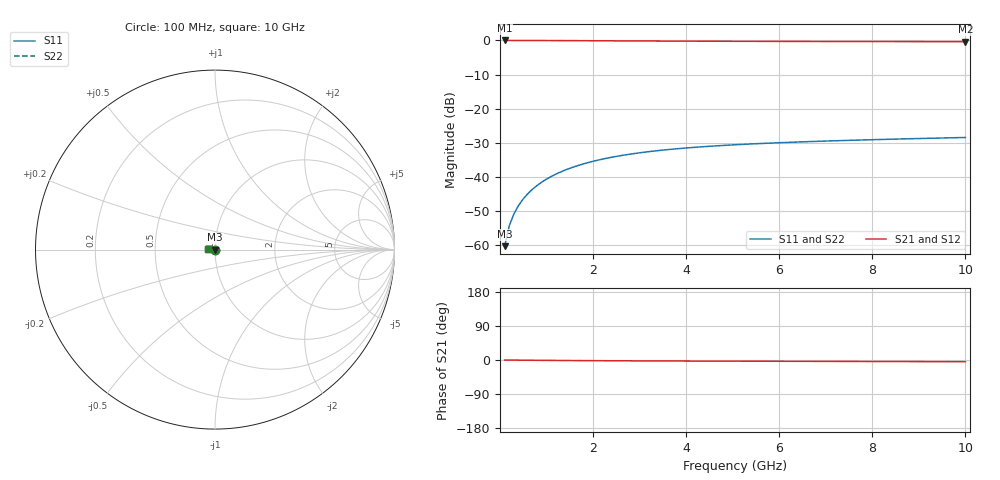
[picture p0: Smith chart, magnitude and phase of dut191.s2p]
! Touchstone file exported from HFSS 2024.1.0
!  File:  C:/UserFiles/LocalFiles/RDL_TSV_Batchsim/temp_TSV1_191_1779385016.aedt
!  Generated:  01:42:16 AM May 22, 2026
!  Design:  TSV1
!  Project:  temp_TSV1_191_1779385016
!  Setup:  Setup1
!  Solution:  Sweep
! Variables:
!  dtsv = 9.1um
!  hbump = 3um
!  htsv = 68.52um
!  lrdl = 252.1521522um
!  p = 40
!  p1 = 48.86um
!  t = 500um
!  trdl = 3um
!  wrdl = 24.89489489um
# GHz S MA R 50.000000
! Terminal data exported
! Port[1] = TSV22_T1
! Port[2] = TSV22_T2
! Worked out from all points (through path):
!   100 points, 100 MHz to 10 GHz, reference 50 ohm
!   highest |S21| = 0.00 dB at 100 MHz (marker M1); lowest = -0.4 dB at 10 GHz (marker M2)
!   lowest |S11| = -60.4 dB at 100 MHz (marker M3), VSWR 1.00, Z = 50 - j0.0948 ohm
!   |S11| at or under -10 dB: start of sweep to end of sweep
!   |S22| runs from -60.4 to -28.5 dB; largest |S21 - S12| = 8.2e-15
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0.1  0.0009569 -82.2  0.9998 -0.1  0.9998 -0.1  0.0009569 -82.2
! Gamma 0 0 0 0
! Port Impedance 50 0 50 0
0.2  0.0019 -88.6  0.9997 -0.2  0.9997 -0.2  0.0019 -88.6
0.3  0.002846 -92.0  0.9995 -0.3  0.9995 -0.3  0.002846 -92.0
0.4  0.003789 -94.7  0.9993 -0.4  0.9993 -0.4  0.003789 -94.7
0.5  0.004725 -97.0  0.999 -0.5  0.999 -0.5  0.004725 -97.0
0.6  0.00565 -99.2  0.9987 -0.6  0.9987 -0.6  0.00565 -99.2
0.7  0.006563 -101.3  0.9983 -0.7  0.9983 -0.7  0.006563 -101.3
0.8  0.007463 -103.2  0.9979 -0.8  0.9979 -0.8  0.007463 -103.2
0.9  0.008349 -105.2  0.9974 -0.9  0.9974 -0.9  0.008349 -105.2
1.1  0.01007 -108.9  0.9963 -1.1  0.9963 -1.1  0.01007 -108.9
1.4  0.01251 -114.1  0.9944 -1.3  0.9944 -1.3  0.01251 -114.1
1.6  0.01404 -117.5  0.9931 -1.5  0.9931 -1.5  0.01404 -117.5
1.8  0.01548 -120.7  0.9916 -1.6  0.9916 -1.6  0.01548 -120.7
2.1  0.01749 -125.3  0.9894 -1.8  0.9894 -1.8  0.01749 -125.3
2.5  0.01987 -130.9  0.9865 -2.1  0.9865 -2.1  0.01987 -130.9
2.9  0.02196 -136.1  0.9837 -2.3  0.9837 -2.3  0.02196 -136.1
3.4  0.02419 -142.1  0.9804 -2.5  0.9804 -2.5  0.02419 -142.1
4.2  0.02706 -150.4  0.9758 -2.8  0.9758 -2.8  0.02706 -150.4
5.1  0.02956 -158.3  0.9717 -3.1  0.9717 -3.1  0.02956 -158.3
6.7  0.03286 -169.8  0.9665 -3.6  0.9665 -3.6  0.03286 -169.8
8.4  0.03552 -179.6  0.9628 -4.0  0.9628 -4.0  0.03552 -179.6
10  0.03767 172.6  0.9605 -4.5  0.9605 -4.5  0.03767 172.6
